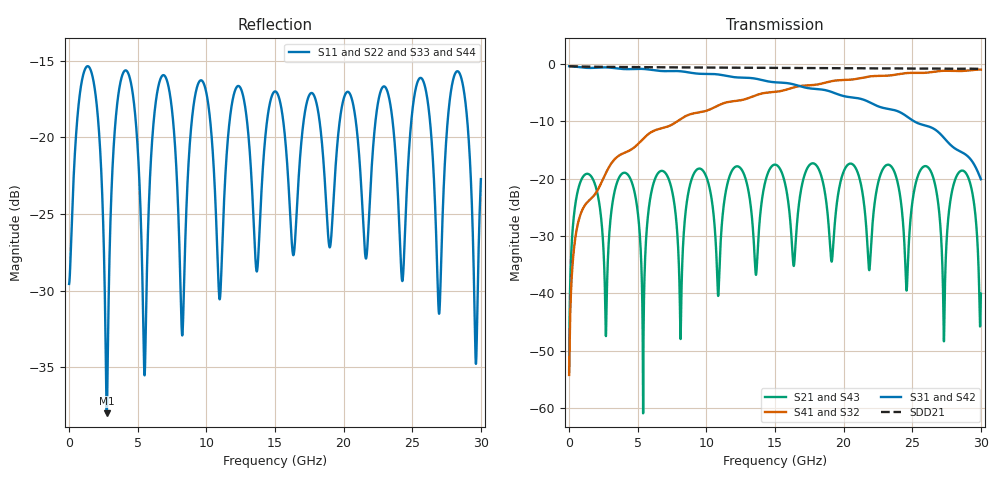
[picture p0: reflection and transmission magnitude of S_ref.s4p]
!diffpair-meanders S_ref (straight pair, reference for the serpentine experiment), mesh medium
!ports 1 P_near 2 N_near 3 P_far 4 N_far; openEMS FDTD, lumped 50 ohm ports
# Hz S RI R 50.0
! Port[1] = P_near
! Port[2] = N_near
! Port[3] = P_far
! Port[4] = N_far
!freq ReS11 ImS11 ReS12 ImS12 ReS13 ImS13
! ReS14 ImS14
! ReS21 ImS21 ReS22 ImS22 ReS23 ImS23
! ReS24 ImS24
! ReS31 ImS31 ReS32 ImS32 ReS33 ImS33
! ReS34 ImS34
! ReS41 ImS41 ReS42 ImS42 ReS43 ImS43
! ReS44 ImS44
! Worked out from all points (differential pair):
!   3000 points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, 10 MHz to 30 GHz, reference 50 ohm
!   strongest paths, dB at 10 MHz, 7.51 GHz, 15.01 GHz, 22.51 GHz, 30 GHz:
!     S31: -0.4, -1.2, -3.2, -7.4, -20.1
!     S42: -0.4, -1.3, -3.3, -7.5, -20.4
!     S41: -54.2, -10.6, -4.9, -2.1, -1.0
!     S32: -54.2, -10.6, -4.9, -2.1, -1.0
!     S21: -53.6, -22.1, -17.6, -20.8, -40.0
!     S43: -53.6, -22.1, -17.6, -20.8, -40.0
!   taken as a pair (ports 1,2 in; 3,4 out), SDD21 dB: -0.4, -0.6, -0.7, -0.8, -0.9
!   lowest |S11| = -38.0 dB at 2.75 GHz (marker M1), VSWR 1.03, Z = 51.3 + j0.0429 ohm
!   |S11| at or under -10 dB: start of sweep to end of sweep
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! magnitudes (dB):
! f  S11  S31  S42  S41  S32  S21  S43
! 10 MHz  -29.6  -0.4  -0.4  -54.2  -54.2  -53.6  -53.6
! 1.08 GHz  -15.8  -0.7  -0.7  -24.9  -24.9  -19.5  -19.5
! 2.75 GHz  -38.0  -0.6  -0.6  -18.7  -18.7  -40.7  -40.7
! 3.94 GHz  -15.8  -0.9  -0.9  -15.6  -15.6  -19.0  -19.0
! 5.4 GHz  -31.6  -0.9  -0.9  -13.0  -13.0  -60.9  -60.9
! 23.24 GHz  -17.1  -7.8  -7.9  -2.0  -2.0  -17.6  -17.6
! 30 GHz  -22.7  -20.1  -20.4  -1.0  -1.0  -40.0  -40.0
